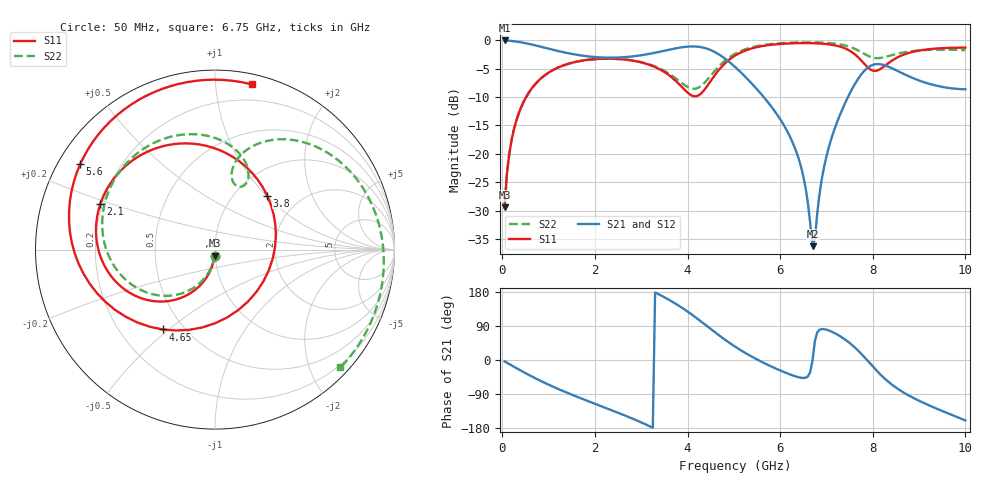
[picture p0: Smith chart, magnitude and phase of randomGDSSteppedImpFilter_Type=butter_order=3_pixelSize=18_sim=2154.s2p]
! freq	dB(S11)	phase(S11)	dB(S12)	phase(S12)
!  dB(S21)	phase(S21)	dB(S22)	phase(S22)
!S-par simulation data
#  GHz  S  DB  R 50
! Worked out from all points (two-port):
!   200 points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, 50 MHz to 10 GHz, reference 50 ohm
!   highest |S21| = -0.01 dB at 50 MHz (marker M1); lowest = -36.3 dB at 6.7 GHz (marker M2)
!   |S21| within 3 dB of the highest: start of sweep to 2.15 GHz; 2.521 GHz to 4.776 GHz (2.255 GHz wide, 61.8 % of centre)
!   lowest |S11| = -29.4 dB at 50 MHz (marker M3), VSWR 1.07, Z = 49.7 - j3.35 ohm
!   |S11| at or under -10 dB: start of sweep to 514.5 MHz
!   |S22| runs from -29.4 to -0.4 dB; largest |S21 - S12| = 0
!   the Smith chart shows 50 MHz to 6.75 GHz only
!   S11 on the Smith chart (normalised r, x): 50 MHz: 0.99, -0.07; 2.1 GHz: 0.19, +0.18; 3.8 GHz: 1.39, +1.01; 4.65 GHz: 0.38, -0.48; 5.6 GHz: 0.06, +0.29; 6.75 GHz: 0.07, +1.24
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0.05  -29.44 -93.5  -0.01 -3.6  -0.01 -3.6  -29.44 -94.0
0.2  -17.60 -103.7  -0.10 -14.2  -0.10 -14.2  -17.60 -105.6
0.5  -10.20 -122.8  -0.49 -34.6  -0.49 -34.6  -10.22 -127.4
1.75  -3.53 173.7  -2.71 -103.6  -2.71 -103.6  -3.55 158.2
2.1  -3.25 158.4  -2.99 -120.2  -2.99 -120.2  -3.26 140.5
3.4  -5.10 87.7  -2.00 172.1  -2.00 172.1  -4.95 77.8
3.8  -7.57 46.0  -1.32 144.2  -1.32 144.2  -7.03 65.2
4.2  -9.83 -33.2  -1.10 110.2  -1.10 110.2  -8.46 72.7
4.65  -5.48 -123.3  -2.33 67.8  -2.33 67.8  -4.82 73.0
5.05  -2.56 -169.6  -4.86 33.4  -4.86 33.4  -2.25 51.2
5.6  -1.02 147.7  -9.55 -4.8  -9.55 -4.8  -0.87 17.9
6.4  -0.48 99.5  -20.86 -45.6  -20.86 -45.6  -0.37 -25.5
6.7  -0.50 80.9  -36.27 0.2  -36.27 0.2  -0.36 -40.7
6.75  -0.51 77.5  -35.00 50.1  -35.00 50.1  -0.36 -43.2
7  -0.65 59.3  -20.44 80.0  -20.44 80.0  -0.44 -55.8
7.45  -1.59 12.6  -10.22 49.8  -10.22 49.8  -1.00 -78.7
7.65  -2.72 -20.5  -7.21 28.8  -7.21 28.8  -1.63 -88.2
7.85  -4.42 -67.9  -5.11 3.4  -5.11 3.4  -2.52 -94.7
8.1  -5.30 -143.2  -4.17 -30.3  -4.17 -30.3  -3.14 -97.1
8.35  -3.93 158.2  -4.68 -58.9  -4.68 -58.9  -2.74 -100.9
8.95  -1.87 90.2  -6.92 -104.6  -6.92 -104.6  -1.81 -123.1
10  -1.28 32.4  -8.62 -159.5  -8.62 -159.5  -1.73 -172.2
